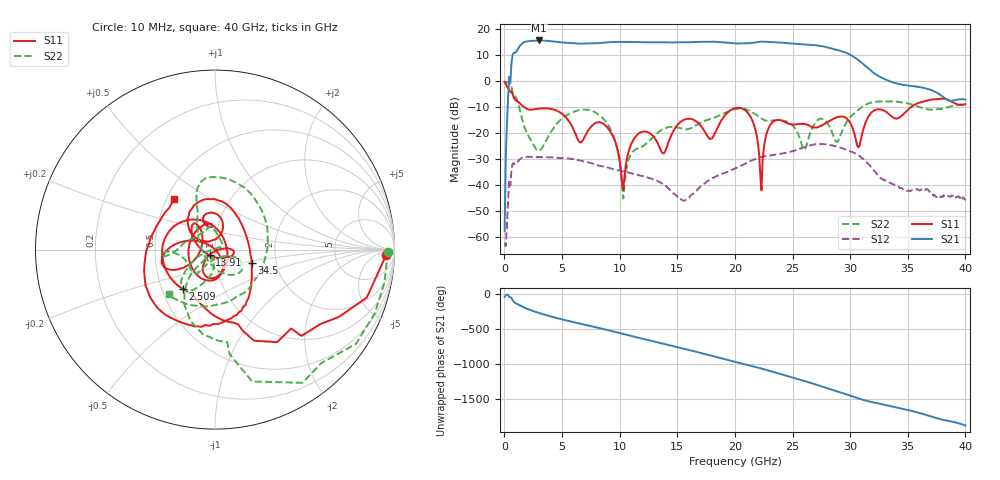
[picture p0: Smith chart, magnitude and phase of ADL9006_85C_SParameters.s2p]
! Analog Devices, Inc.
! Device:	ADL9006ACGZN
! Description:	GaAs, Distributed LNA Amplifier
! Conditions:	Vdd = 5.0 V
!		Idd = 55mA
!		Pin = -25 dBm
!		Operating Temperature = 85 C (at package bottom)
! Product validation unit SN1 soldered down to Evaluation Board as shown on ADL9006-EVALZ User Guide. Board loss de-embedded from S21 magnitude.  All other RF measurements reference to RF coaxial connector.
! Frequency (GHz)	S11_Mag (dB)	S11_Phase (deg)	S21_Mag (dB)	S21_Phase (deg)	S12_Mag (dB)	S12_Phase (deg)	S22_Mag (dB)	S22_Phase (deg)
#  GHZ  S  DB  R 50
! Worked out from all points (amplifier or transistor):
!   401 points, 10 MHz to 40 GHz, reference 50 ohm
!   highest |S21| = 15.5 dB at 3.009 GHz (marker M1)
!   |S21| within 3 dB of that: 1.205 GHz to 28.32 GHz (27.12 GHz wide, 184 % of centre)
!   unconditionally stable (mu >= 1): start of sweep to end of sweep
!   at 6.608 GHz: K = 3.08, MAG = 14.7 dB, |S12| = -30.6 dB
!   at 20 GHz: K = 3.92, MAG = 15.2 dB, |S12| = -33.6 dB
!   at 40 GHz: K = 171.26, MAG = -6.0 dB, |S12| = -45.9 dB
!   S11 on the Smith chart (normalised r, x): 10 MHz: 30, -20; 2.509 GHz: 0.64, -0.30; 13.91 GHz: 0.94, -0.06; 34.5 GHz: 1.49, -0.23; 40 GHz: 0.55, +0.35
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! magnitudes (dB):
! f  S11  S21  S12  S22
! 10 MHz  -0.4  -57.7  -62.2  -0.3
! 309.9 MHz  -2.9  -6.9  -46.1  -0.5
! 609.9 MHz  -4.1  7.1  -33.8  -2.3
! 2.509 GHz  -11.0  15.4  -29.2  -24.5
! 3.009 GHz  -10.6  15.5  -29.3  -26.7
! 6.708 GHz  -23.4  14.3  -30.7  -11.1
! 8.708 GHz  -16.9  14.7  -33.0  -15.1
! 10.31 GHz  -41.9  15.0  -34.8  -45.1
! 11.61 GHz  -20.4  14.9  -36.2  -25.8
! 13.41 GHz  -25.1  14.8  -38.7  -19.5
! 13.91 GHz  -27.4  14.8  -40.1  -18.2
! 20.1 GHz  -10.4  14.4  -33.4  -10.8
! 21.5 GHz  -15.2  14.6  -30.5  -12.1
! 22.3 GHz  -42.0  15.1  -29.2  -14.5
! 23.3 GHz  -15.7  14.9  -28.5  -15.2
! 26 GHz  -16.5  14.0  -25.5  -26.4
! 26.7 GHz  -17.7  13.9  -24.5  -18.2
! 28.9 GHz  -13.9  11.8  -25.3  -23.3
! 30.7 GHz  -25.5  8.0  -28.6  -11.2
! 33.4 GHz  -12.9  -0.1  -39.0  -7.9
! 34.5 GHz  -13.3  -1.5  -41.2  -8.2
! 40 GHz  -8.9  -7.2  -45.9  -8.9
